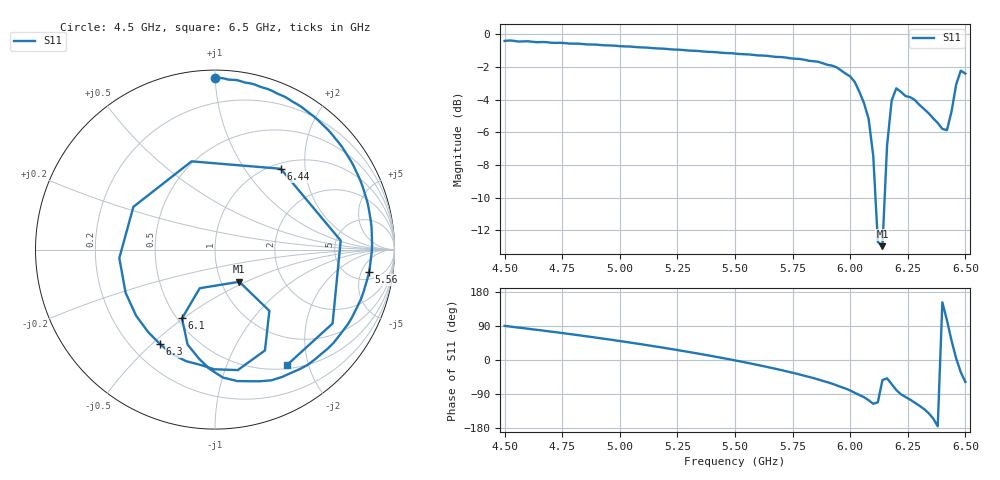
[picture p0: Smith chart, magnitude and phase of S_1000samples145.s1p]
! TOUCHSTONE file generated by CST MICROWAVE STUDIO
! Date and time: Thu Oct 27 03:51:50 2022
! Project name: L.cst
! Parameters = {Di=1.27; Epsilon_r=1.56; InnerDiameter=1.27; Length=2; Lf=10; Lg=60; OuterConductorThickness=0.2921; OuterDiameter=3.6; Wf=3; Wp=41.2; de=1.5; df=6.8; g=0.8; gx=2.9397; gy=3.32753; h=2.34; hf=1.524; px=9.18709; py=14.3357; w=9.7; wx=6.24739; wy=11.0082}
! Header version: 2018
! Port assignment regex: !\s*Touchstone port\s*([0-9]+)\s*=\s*(CST MWS port|CST DS port)\s*([0-9]+|Zmin|Zmax)\s*\(\"(.*)\"\)(\s*mode\s*([0-9]+))?.*
! Touchstone port assignment:
! Touchstone port 1 = CST MWS port 1 ("")
# GHz S DB R 50
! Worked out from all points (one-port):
!   101 points, 4.5 GHz to 6.5 GHz, reference 50 ohm
!   lowest |S11| = -13.0 dB at 6.14 GHz (marker M1), VSWR 1.58, Z = 60.9 - j23 ohm
!   |S11| at or under -10 dB: 6.11 GHz to 6.15 GHz (39.94 MHz wide, 0.652 % of centre)
!   S11 on the Smith chart (normalised r, x): 4.5 GHz: 0.05, +1.00; 5.56 GHz: 6.97, -7.01; 6.1 GHz: 0.53, -0.49; 6.3 GHz: 0.32, -0.53; 6.44 GHz: 1.10, +1.49; 6.5 GHz: 0.55, -1.67
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4.5  -0.41 90.1
4.76  -0.54 70.3
5  -0.73 50.0
5.26  -0.95 25.3
5.5  -1.18 -1.1
5.56  -1.23 -8.2
5.76  -1.50 -35.1
5.9  -1.86 -58.4
6  -2.58 -80.4
6.06  -4.22 -98.2
6.08  -5.18 -106.1
6.1  -7.44 -115.7
6.12  -12.71 -111.6
6.14  -12.97 -53.0
6.16  -6.81 -48.4
6.18  -4.05 -63.7
6.2  -3.31 -79.3
6.22  -3.52 -90.4
6.26  -3.85 -104.5
6.3  -4.32 -120.4
6.36  -5.14 -154.2
6.38  -5.43 -175.0
6.4  -5.79 152.3
6.42  -5.87 104.9
6.44  -4.72 50.9
6.46  -3.07 4.1
6.48  -2.23 -32.2
6.5  -2.41 -58.0
